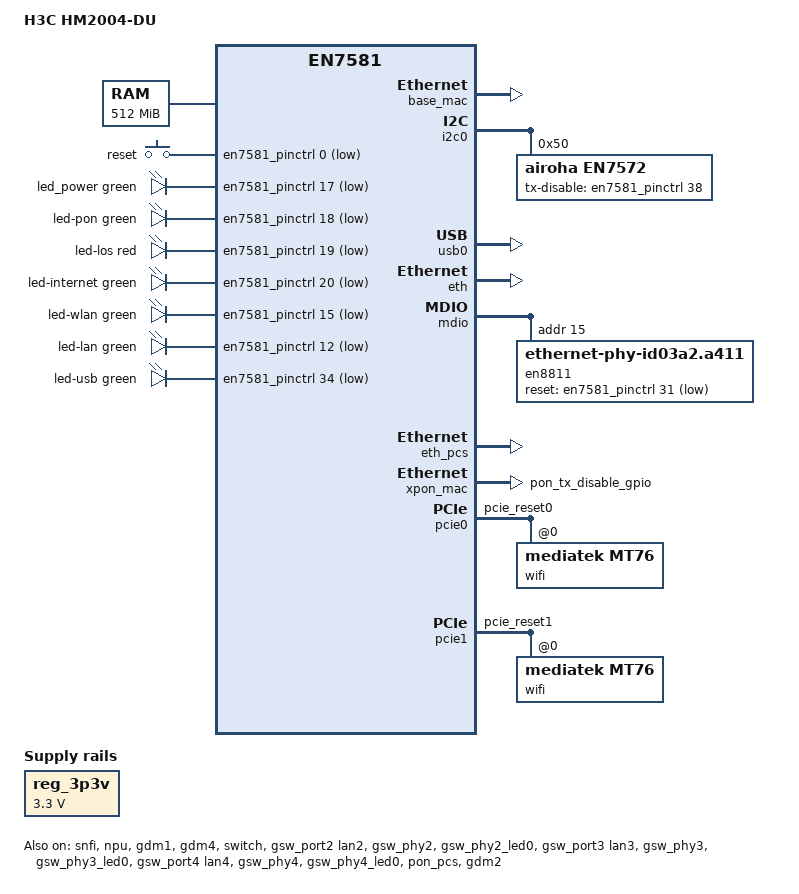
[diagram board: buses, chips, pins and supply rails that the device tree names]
// SPDX-License-Identifier: (GPL-2.0-only OR BSD-2-Clause)
/dts-v1/;

/*
 * H3C HM2004-DU - FTTR master gateway (China Unicom variant).
 *
 * Airoha AN7581CT, quad A53 @ 900 MHz, 512 MiB DRAM (stock env
 * dram_limit=512M - the stock DTB's 8 GiB node is bogus), 256 MiB
 * SPI-NAND. XG-PON / 10G-EPON upstream through the internal xPON MAC
 * with an EN7572-class BOSA (UX3326; calibration at 0x1c0400).
 *
 * Downstream: 1x 2.5GE (EN8811H, external MDIO) + 3x GE (internal GSW
 * PHYs) + USB 2.0 + MT7916 (MT7916AN + MT7976DN, DBDC 2x2) + POTS
 * (SLIC, no driver ported). The FTTR downlink towards the slave
 * gateways is an H3C FMCS FPGA - see the fmcs node.
 */

/* Firmware reserves the first 2 MiB of DRAM. */
/memreserve/ 0x80000000 0x200000;

#include <dt-bindings/gpio/gpio.h>
#include <dt-bindings/input/input.h>
#include <dt-bindings/leds/common.h>
#include "an7581.dtsi"

/ {
	model = "H3C HM2004-DU";
	compatible = "h3c,hm2004-du", "airoha,an7581", "airoha,en7581";

	aliases {
		label-mac-device = &gdm4;
		led-boot = &led_power;
		led-failsafe = &led_power;
		led-running = &led_power;
		led-upgrade = &led_power;

		serial0 = &uart1;
	};

	chosen {
		/* fitblk locates the FIT-embedded read-only rootfs volume. */
		rootdisk = <&ubi_fit>;
		bootargs = "console=ttyS0,115200 earlycon";
		stdout-path = "serial0:115200n8";
	};

	/* Stock U-Boot env sets dram_limit=512M and patches the DTB. */
	memory@80000000 {
		device_type = "memory";
		reg = <0x0 0x80000000 0x0 0x20000000>;
	};

	keys {
		compatible = "gpio-keys";

		key-reset {
			label = "reset";
			linux,code = <KEY_RESTART>;
			/* TODO(verify): GPIO0 is the TCLinux SDK default; no button
			 * record exists in the stock flash. */
			gpios = <&en7581_pinctrl 0 GPIO_ACTIVE_LOW>;
			debounce-interval = <60>;
		};
	};

	leds {
		compatible = "gpio-leds";
		/*
		 * All lamps are active-low (verified on hardware). GPIO17/18/19/
		 * 15/34 were each confirmed to light; GPIO12 and GPIO20 are still
		 * unconfirmed (stock env ether_gpio=0c / internet_gpio=14).
		 * GPIO16 (red power) and GPIO21 (downlink) light nothing on this
		 * board and are deliberately not declared.
		 */
		led_power: led-power {
			color = <LED_COLOR_ID_GREEN>;
			function = LED_FUNCTION_POWER;
			gpios = <&en7581_pinctrl 17 GPIO_ACTIVE_LOW>;
			default-state = "on";
			panic-indicator;
		};

		led-pon {
			color = <LED_COLOR_ID_GREEN>;
			function = LED_FUNCTION_WAN;
			gpios = <&en7581_pinctrl 18 GPIO_ACTIVE_LOW>;
			/* Registration maps O1-O3 to fast blink, O4 to slow blink, and O5 on. */
			linux,default-trigger = "pon0-registration";
		};

		led-los {
			color = <LED_COLOR_ID_RED>;
			function = LED_FUNCTION_WAN;
			gpios = <&en7581_pinctrl 19 GPIO_ACTIVE_LOW>;
			linux,default-trigger = "pon0-los";
		};

		led-internet {
			color = <LED_COLOR_ID_GREEN>;
			function = LED_FUNCTION_WAN_ONLINE;
			/* TODO(verify): stock env internet_gpio=14 -> 0x14; not measured. */
			gpios = <&en7581_pinctrl 20 GPIO_ACTIVE_LOW>;
			linux,default-trigger = "pon0-online";
		};

		led-wlan {
			color = <LED_COLOR_ID_GREEN>;
			function = LED_FUNCTION_WLAN;
			gpios = <&en7581_pinctrl 15 GPIO_ACTIVE_LOW>;
		};

		led-lan {
			color = <LED_COLOR_ID_GREEN>;
			function = LED_FUNCTION_LAN;
			/* TODO(verify): stock env ether_gpio=0c -> 0x0c; not measured. */
			gpios = <&en7581_pinctrl 12 GPIO_ACTIVE_LOW>;
		};

		led-usb {
			color = <LED_COLOR_ID_GREEN>;
			function = LED_FUNCTION_USB;
			gpios = <&en7581_pinctrl 34 GPIO_ACTIVE_LOW>;
			linux,default-trigger = "usbport";
			trigger-sources = <&usb_port1>;
		};
	};

	/* The USB PHY 3.3V reference supply is always on. */
	reg_3p3v: regulator-3p3v {
		compatible = "regulator-fixed";
		regulator-always-on;
		regulator-boot-on;
		regulator-min-microvolt = <3300000>;
		regulator-max-microvolt = <3300000>;
		regulator-name = "fixed-3.3V";
	};

	/*
	 * Reserved node for the FTTR downstream optical port (下行光口).
	 * Stock DTB: compatible "h3c,fmcs" plus spi-controller = <11>,
	 * fpga-spi-int-gpio = <23>, interrupts = <0 26 1> (GIC_SPI 26,
	 * level-high) and fpga-load-{rst,cfg-done,flag,clk,do}-gpio = <0>:
	 * an FPGA whose bitstream is bit-banged over GPIO and which then
	 * speaks SPI. Stock env fttr_olt_sel=4 - the master runs in OLT mode
	 * towards the slave gateways (mtd5/mtd6/mtd7 hold the slave
	 * kernel/rootfs/tclinux images it serves over this port).
	 *
	 * Nothing else can be reserved for it: AN7581 wires only gdm1 (CPU),
	 * gdm2 (PON) and gdm4 (2.5GE) - there is no gdm3, so the downlink can
	 * never become an airoha,eth-mac netdev - and next to pon_pcs /
	 * eth_pcs / usb_pcs the only PCS block left (pcs@1fa04000) is
	 * "airoha,an7581-pcs-pcie", i.e. PCIe. A driver must talk SPI with
	 * GPIO23 as IRQ. The stock mdio-bus also lists 0x0d/0x0e beside the
	 * EN8811H at 0x0f - most likely this FPGA's port PHYs, left
	 * undeclared so they do not probe as phantom PHYs. No lamp either:
	 * GPIO21, assumed to be the downlink lamp, does not light.
	 *
	 * Skeleton once a binding exists:
	 *   fmcs {
	 *       compatible = "h3c,fmcs";
	 *       spi-controller = <11>;
	 *       interrupts = <GIC_SPI 26 IRQ_TYPE_LEVEL_HIGH>;
	 *       fpga-spi-int-gpios = <&en7581_pinctrl 23 GPIO_ACTIVE_HIGH>;
	 *       status = "okay";
	 *   };
	 */
	fmcs {
		compatible = "h3c,fmcs";
		status = "disabled";
	};
};

&en7581_pinctrl {
	gpio-ranges = <&en7581_pinctrl 0 13 50>;

	pon_pins: pon-pins {
		mux {
			/* Leave GPIO38/TX_DISABLE under optical frontend control. */
			function = "pon";
			groups = "pon_tx_disable_gpio";
		};
	};

	mdio_pins: mdio-pins {
		mux {
			function = "mdio";
			groups = "mdio";
		};
	};

	gswp2_led0_pins: gswp2-led0-pins {
		mux {
			function = "phy2_led0";
			pins = "gpio44";
		};
	};

	gswp3_led0_pins: gswp3-led0-pins {
		mux {
			function = "phy3_led0";
			pins = "gpio45";
		};
	};

	gswp4_led0_pins: gswp4-led0-pins {
		mux {
			function = "phy4_led0";
			pins = "gpio46";
		};
	};
};

/* The stock flash is SPI-NAND accessed through the SNFI (SPI2NFI) engine. */
&snfi {
	status = "okay";
};

&spi_nand {
	nand-ecc-engine = <&spi_nand>;

	partitions: partitions {
		compatible = "fixed-partitions";
		#address-cells = <1>;
		#size-cells = <1>;

		/* BootROM reads the BL2 FIP at offset 0x800 in the first eraseblock. */
		partition@0 {
			label = "bl2";
			reg = <0x00000000 0x00020000>;
			read-only;
		};

		/* UBI manages every eraseblock after BL2. */
		partition@20000 {
			label = "ubi";
			reg = <0x00020000 0x00000000>;
			compatible = "linux,ubi";

			volumes {
				ubi_fip: ubi-volume-fip {
					/* The second-stage FIP contains BL31 and U-Boot. */
					volname = "fip";
				};

				ubi_env: ubi-volume-ubootenv {
					volname = "ubootenv";
				};

				ubi_env2: ubi-volume-ubootenv2 {
					volname = "ubootenv2";
				};

				factory: ubi-volume-factory {
					volname = "factory";

					/*
					 * This board's factory UBI volume is 1 MiB (0x100000),
					 * so the vendor's "true" offsets (0x140005 / 0x14102c /
					 * 0x1c0400 / 0x4c000, which live in the 0x240000-byte
					 * reservearea) are out of range here. Use the compact
					 * 1 MiB layout defined by the h3c-hm2004du-factory
					 * editor (github.com/qwe3017/h3c-hm2004du-factory):
					 *   0x0000  magic "H3C-1MiB" (8 ASCII bytes)
					 *   0x0010  label MAC, six raw bytes
					 *   0x0020  eth0 MAC (label+1, informational copy)
					 *   0x0030  pon0 MAC (label+2, informational copy)
					 *   0x0040  5G MAC (label+4, informational copy)
					 *   0x0050  2.4G MAC (label+5, informational copy)
					 *   0x0060  Device SN, 12-byte ASCII
					 *   0x1000  Wi-Fi EEPROM, 0x1000 (MT7916 DBDC)
					 *   0x2000  PON calibration, 0x200 (EN7572)
					 */
					h3c_hm2004du_layout: nvmem-layout {
						compatible = "fixed-layout";
						#address-cells = <1>;
						#size-cells = <1>;

						factory_magic: magic@0 {
							reg = <0x00000000 0x00000008>;
						};

						/* Base MAC: label plus all per-unit derivations
						 * via the mac-base read_post_process (index added
						 * to the last byte). The cell only yields usable
						 * addresses once the volume is seeded with the
						 * real bytes; an erased slot reads as ff:ff:... */
						base_mac: base-mac@10 {
							compatible = "mac-base";
							reg = <0x00000010 0x00000006>;
							#nvmem-cell-cells = <1>;
						};

						pon_serial: pon-serial@60 {
							reg = <0x00000060 0x0000000c>;
						};

						pon_calibration: calibration@2000 {
							reg = <0x00002000 0x00000200>;
						};

						wifi_eeprom: eeprom@1000 {
							reg = <0x00001000 0x00001000>;
						};
					};
				};

				ubi_fit: ubi-volume-fit {
					/* The fit volume contains the kernel and read-only rootfs. */
					volname = "fit";
				};
			};
		};
	};
};

/*
 * All MACs derive from the six raw bytes at factory offset 0x10 (compact
 * 1 MiB layout) through the mac-base cell above - the same
 * read_post_process scheme the Nokia XG-040G boards use. The stock
 * reservearea keeps only the locally administered placeholder
 * 02:00:00:XX:00:00 in its own slot (the real address lives inside the gzip
 * ctromfile at 0x80000 of the 0x240000-byte dump), so the volume must be
 * seeded once before these cells mean anything:
 *
 *   factory-h3c-hm2004du-seed-1mib.bin = compact 1 MiB image carrying the
 *   real label MAC, SN, Wi-Fi EEPROM and PON calibration, flashed with
 *   ubiupdatevol.
 *
 * Derivations (matching the h3c-hm2004du-factory editor): lan1/gdm4 = label,
 * gdm1/eth0 = label+1, pon0/gdm2 = label+2, 5G radio = label+4, 2.4G radio
 * = label+5. The lan bridge keeps its address from 02_network, which reads
 * the label back out of lan1 in sysfs (netifd does not push a macaddr onto
 * the bridge device itself).
 */
&ubi_env {
	nvmem-layout {
		compatible = "u-boot,env-redundant-bool-layout";
	};
};

&ubi_env2 {
	nvmem-layout {
		compatible = "u-boot,env-redundant-bool-layout";
	};
};

&i2c0 {
	status = "okay";

	/*
	 * UX3326 BOSA assembly driven by the EN7572-compatible controller;
	 * reservearea calibration header names the chip explicitly.
	 */
	en7572: optical-front-end@50 {
		compatible = "airoha,en7572";
		reg = <0x50>;
		/* GPIO38 high disables upstream optical transmission. */
		tx-disable-gpios = <&en7581_pinctrl 38 GPIO_ACTIVE_HIGH>;
		nvmem-cells = <&pon_calibration>;
		nvmem-cell-names = "calibration";
	};
};

/* USB 2.0 host port (product spec: 1x USB2.0; stock env serdes_usb1=11). */
&usb0 {
	status = "okay";
	vusb33-supply = <&reg_3p3v>;
	#address-cells = <1>;
	#size-cells = <0>;

	usb_port1: port@1 {
		reg = <1>;
		#trigger-source-cells = <0>;
	};
};

&npu {
	status = "okay";
};

&eth {
	status = "okay";

	/* eth0 is the internal FE/GMAC netdev; it takes label+1 from the
	 * factory mac-base cell. */
};

&gdm1 {
	/* eth0's GMAC port: label+1, one above the LAN side. */
	nvmem-cell-names = "mac-address";
	nvmem-cells = <&base_mac 1>;
	status = "okay";
};

&mdio {
	/* Reserved for the FMCS downlink FPGA (see the fmcs node): the stock
	 * bus also lists 0x0d/0x0e beside the EN8811H at 0x0f. They are not
	 * declared - no driver, so they would only probe as phantom PHYs -
	 * and must not be reused for anything else. */

	en8811: ethernet-phy@f {
		compatible = "ethernet-phy-id03a2.a411";
		reg = <0xf>;
		reset-gpios = <&en7581_pinctrl 31 GPIO_ACTIVE_LOW>;
		/* Hold reset for 1 second and wait 100 ms before MD32 firmware load. */
		reset-assert-us = <1000000>;
		reset-deassert-us = <100000>;

		leds {
			#address-cells = <1>;
			#size-cells = <0>;

			led-0 {
				reg = <0>;
				color = <LED_COLOR_ID_GREEN>;
				function = LED_FUNCTION_LAN;
				function-enumerator = <1>;
				default-state = "keep";
			};
		};
	};
};

&eth_pcs {
	/* HSGMII carries the EN8811H 2500BASE-X host link. */
	status = "okay";
};

&gdm4 {
	openwrt,netdev-name = "lan1";
	phy-handle = <&en8811>;
	phy-mode = "2500base-x";
	/* lan1 carries the plain label MAC. */
	nvmem-cell-names = "mac-address";
	nvmem-cells = <&base_mac 0>;
	status = "okay";
};

&switch {
	pinctrl-names = "default";
	pinctrl-0 = <&mdio_pins>;
	status = "okay";
};

/*
 * Panel LAN2, LAN3, LAN4 map to the internal GSW PHYs 2, 3, and 4
 * (panel 2.5GE is LAN1 via EN8811H above).
 */
&gsw_port2 {
	label = "lan2";
	status = "okay";
};

&gsw_phy2 {
	interrupts = <2>;
	pinctrl-names = "gbe-led";
	pinctrl-0 = <&gswp2_led0_pins>;
	status = "okay";
};

&gsw_phy2_led0 {
	color = <LED_COLOR_ID_GREEN>;
	function = LED_FUNCTION_LAN;
	function-enumerator = <2>;
	active-low;
	status = "okay";
};

&gsw_port3 {
	label = "lan3";
	status = "okay";
};

&gsw_phy3 {
	interrupts = <3>;
	pinctrl-names = "gbe-led";
	pinctrl-0 = <&gswp3_led0_pins>;
	status = "okay";
};

&gsw_phy3_led0 {
	color = <LED_COLOR_ID_GREEN>;
	function = LED_FUNCTION_LAN;
	function-enumerator = <3>;
	active-low;
	status = "okay";
};

&gsw_port4 {
	label = "lan4";
	status = "okay";
};

&gsw_phy4 {
	interrupts = <4>;
	pinctrl-names = "gbe-led";
	pinctrl-0 = <&gswp4_led0_pins>;
	status = "okay";
};

&gsw_phy4_led0 {
	color = <LED_COLOR_ID_GREEN>;
	function = LED_FUNCTION_LAN;
	function-enumerator = <4>;
	active-low;
	status = "okay";
};

&pon_pcs {
	status = "okay";
};

&xpon_mac {
	pinctrl-names = "default";
	pinctrl-0 = <&pon_pins>;
	optical-front-end = <&en7572>;
	nvmem-cells = <&pon_serial>;
	nvmem-cell-names = "pon-serial";
	data-path = <&gdm2>;
	status = "okay";
};

&gdm2 {
	/* XG-PON/10G-EPON upstream; GPON mode is selected by ponctl.
	 * label+2 from the factory mac-base cell, so the two L2 domains
	 * do not collide. */
	nvmem-cell-names = "mac-address";
	nvmem-cells = <&base_mac 2>;
	airoha,pon-data-path;
	status = "okay";
};

&en7581_pinctrl {
	pcie0_rst_pins: pcie0-rst-pins {
		conf {
			pins = "pcie_reset0";
			drive-open-drain = <1>;
		};
	};

	pcie1_rst_pins: pcie1-rst-pins {
		conf {
			pins = "pcie_reset1";
			drive-open-drain = <1>;
		};
	};
};

&pcie0 {
	status = "okay";
	max-link-speed = <2>;
	pinctrl-names = "default";
	pinctrl-0 = <&pcie0_rst_pins>;

	pcie@0,0 {
		reg = <0x0000 0 0 0 0>;

		wifi@0,0 {
			compatible = "mediatek,mt76";
			reg = <0x0000 0 0 0 0>;
		};
	};
};

&pcie1 {
	status = "okay";
	max-link-speed = <2>;
	pinctrl-names = "default";
	pinctrl-0 = <&pcie1_rst_pins>;

	pcie@0,0 {
		reg = <0x0000 0 0 0 0>;

		wifi@0,0 {
			compatible = "mediatek,mt76";
			reg = <0x0000 0 0 0 0>;
			nvmem-cells = <&wifi_eeprom>;
			nvmem-cell-names = "eeprom";
			mediatek,eeprom-merge-otp;
			airoha,npu = <&npu>;
			airoha,eth = <&eth>;

			/* The EEPROM only ships the Ralink placeholder
			 * 00:0c:43:26:60:00, so both bands take their address
			 * from the factory mac-base cell, with the same
			 * per-band pattern as an7581-nokia-valyrian. Verify the
			 * band order on the running unit ("iw phyN bands") and
			 * swap the two indices if 2.4G ends up on band 0. */
			band@0 {
				reg = <0>;
				nvmem-cells = <&base_mac 5>;
				nvmem-cell-names = "mac-address";
			};

			band@1 {
				reg = <1>;
				nvmem-cells = <&base_mac 4>;
				nvmem-cell-names = "mac-address";
			};
		};
	};
};
